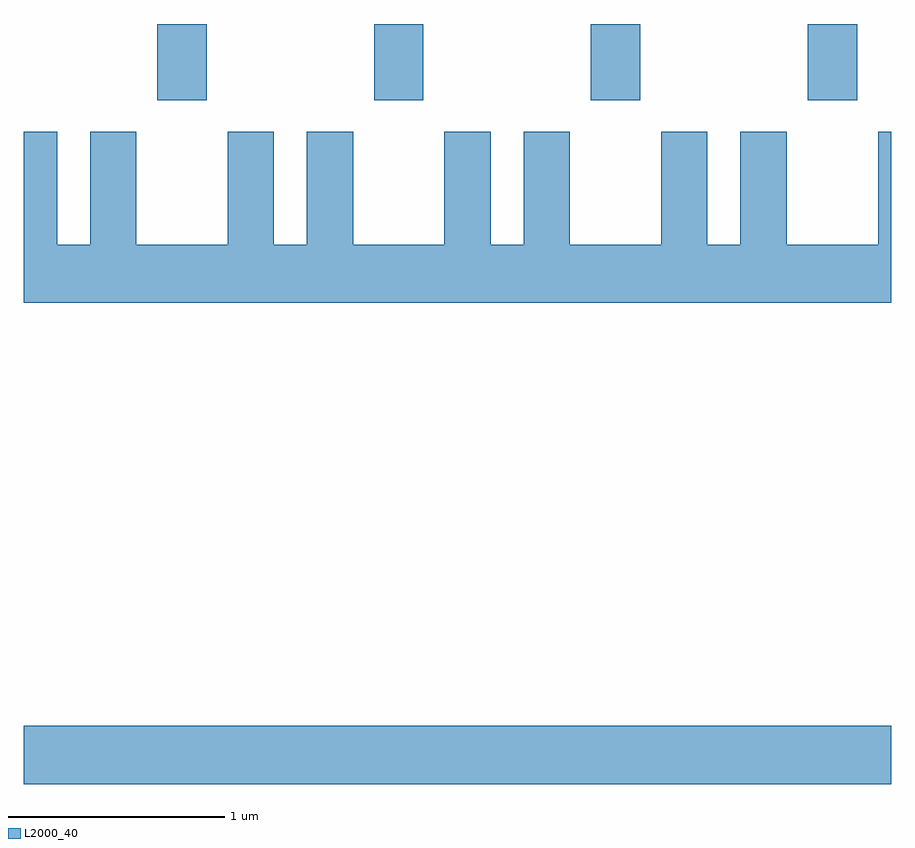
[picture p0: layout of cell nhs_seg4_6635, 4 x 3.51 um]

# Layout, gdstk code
import gdstk
lib = gdstk.Library(unit=1e-6, precision=1e-09)
def R(c, l, rs):  # rectangles x0, y0, x1, y1
    for r in rs: c.add(gdstk.rectangle(r[:2], r[2:], *l))
def A(c, l, x, y, w, h, nx, ny, dx, dy):  # array of equal rectangles
    R(c, l, [(x+i*dx, y+j*dy, x+i*dx+w, y+j*dy+h) for i in range(nx) for j in range(ny)])
def P(c, l, *ps):  # polygons
    for p in ps: c.add(gdstk.Polygon(p, *l))
L2000_40 = (2000, 40)

nhs_seg4_6635 = lib.new_cell('nhs_seg4_6635')
A(nhs_seg4_6635, L2000_40, 380.226, 1335.631, 0.228, 0.351, 4, 1, 1, 0)
R(nhs_seg4_6635, L2000_40, [(379.611,1332.476,383.611,1332.744)])
P(nhs_seg4_6635, L2000_40, [(381.551,1335.484),(381.551,1334.964),(381.129,1334.964),(381.129,1335.484),(380.916,1335.484),(380.916,1334.964),(380.764,1334.964),(380.764,1335.484),(380.551,1335.484),(380.551,1334.964),(380.129,1334.964),(380.129,1335.484),(379.916,1335.484),(379.916,1334.964),(379.764,1334.964),(379.764,1335.484),(379.611,1335.484),(379.611,1334.696),(383.611,1334.696),(383.611,1335.484),(383.551,1335.484),(383.551,1334.964),(383.129,1334.964),(383.129,1335.484),(382.916,1335.484),(382.916,1334.964),(382.764,1334.964),(382.764,1335.484),(382.551,1335.484),(382.551,1334.964),(382.129,1334.964),(382.129,1335.484),(381.916,1335.484),(381.916,1334.964),(381.764,1334.964),(381.764,1335.484)])

lib.write_gds('nhs_seg4_6635.gds')
